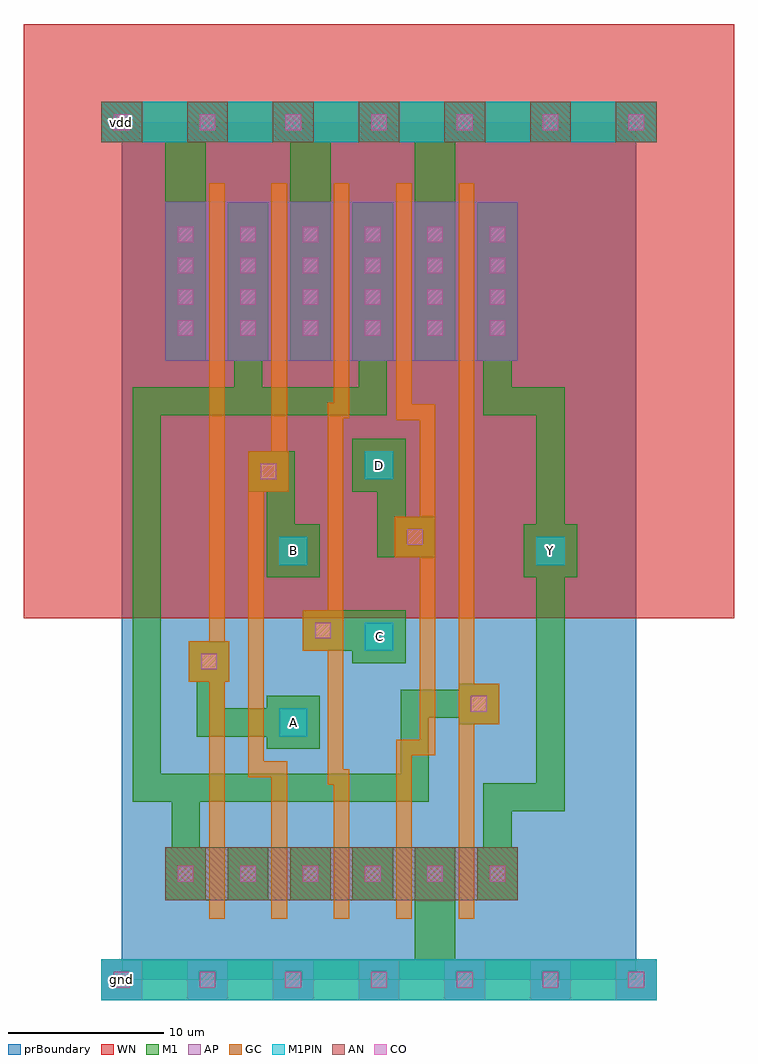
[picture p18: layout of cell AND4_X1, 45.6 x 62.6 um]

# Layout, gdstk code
import gdstk
lib = gdstk.Library(unit=1e-6, precision=1e-09)
def R(c, l, rs):  # rectangles x0, y0, x1, y1
    for r in rs: c.add(gdstk.rectangle(r[:2], r[2:], *l))
def A(c, l, x, y, w, h, nx, ny, dx, dy):  # array of equal rectangles
    R(c, l, [(x+i*dx, y+j*dy, x+i*dx+w, y+j*dy+h) for i in range(nx) for j in range(ny)])
def P(c, l, *ps):  # polygons
    for p in ps: c.add(gdstk.Polygon(p, *l))
AP = (3, 1)
AN = (3, 2)
GC = (8, 1)
CO = (11, 0)
M1 = (13, 0)
M1PIN = (48, 1)
WN = (140, 0)
prBoundary = (235, 0)

and4_x1 = lib.new_cell('AND4_X1')
A(and4_x1, AP, -1.3, -1.3, 2.6, 2.6, 7, 1, 5.5, 0)
R(and4_x1, AP, [(2.8,39.7,25.4,49.9), (2.8,39.7,25.4,49.9)])
A(and4_x1, AN, -1.3, 53.7, 2.6, 2.6, 7, 1, 5.5, 0)
R(and4_x1, AN, [(2.8,5.1,25.4,8.5)])
P(and4_x1, GC, [(5.6,3.9),(5.6,19.1),(4.3,19.1),(4.3,21.7),(5.6,21.7),(5.6,51.1),(6.6,51.1),(6.6,21.7),(6.9,21.7),(6.9,19.1),(6.6,19.1),(6.6,3.9)],
  [(9.6,3.9),(9.6,13),(8.1,13),(8.1,33.9),(9.6,33.9),(9.6,51.1),(10.6,51.1),(10.6,33.9),(10.7,33.9),(10.7,31.3),(9.1,31.3),(9.1,14),(10.6,14),(10.6,3.9)],
  [(13.6,3.9),(13.6,12.5),(13.2,12.5),(13.2,21.1),(11.6,21.1),(11.6,23.7),(13.2,23.7),(13.2,37),(13.6,37),(13.6,51.1),(14.6,51.1),(14.6,36),(14.2,36),(14.2,13.5),(14.6,13.5),(14.6,3.9)],
  [(17.6,3.9),(17.6,15.4),(19.1,15.4),(19.1,27.1),(17.5,27.1),(17.5,29.7),(19.1,29.7),(19.1,35.9),(17.6,35.9),(17.6,51.1),(18.6,51.1),(18.6,36.9),(20.1,36.9),(20.1,14.4),(18.6,14.4),(18.6,3.9)],
  [(21.6,3.9),(21.6,51.1),(22.6,51.1),(22.6,19),(24.2,19),(24.2,16.4),(22.6,16.4),(22.6,3.9)])
A(and4_x1, CO, -0.5, -0.5, 1, 1, 7, 2, 5.5, 55)
A(and4_x1, CO, 3.6, 41.3, 1, 1, 1, 4, 0, 2)
A(and4_x1, CO, 23.6, 41.3, 1, 1, 1, 4, 0, 2)
R(and4_x1, CO, [(3.6,6.3,4.6,7.3), (7.6,6.3,8.6,7.3), (7.6,6.3,8.6,7.3), (11.6,6.3,12.6,7.3), (11.6,6.3,12.6,7.3), (15.6,6.3,16.6,7.3), (15.6,6.3,16.6,7.3), (19.6,6.3,20.6,7.3), (19.6,6.3,20.6,7.3), (23.6,6.3,24.6,7.3), (22.4,17.2,23.4,18.2), (5.1,19.9,6.1,20.9), (12.4,21.9,13.4,22.9), (18.3,27.9,19.3,28.9), (8.9,32.1,9.9,33.1), (7.6,41.3,8.6,42.3), (7.6,41.3,8.6,42.3), (11.6,41.3,12.6,42.3), (11.6,41.3,12.6,42.3), (15.6,41.3,16.6,42.3), (15.6,41.3,16.6,42.3), (19.6,41.3,20.6,42.3), (19.6,41.3,20.6,42.3), (7.6,43.3,8.6,44.3), (7.6,43.3,8.6,44.3), (11.6,43.3,12.6,44.3), (11.6,43.3,12.6,44.3), (15.6,43.3,16.6,44.3), (15.6,43.3,16.6,44.3), (19.6,43.3,20.6,44.3), (19.6,43.3,20.6,44.3), (7.6,45.3,8.6,46.3), (7.6,45.3,8.6,46.3), (11.6,45.3,12.6,46.3), (11.6,45.3,12.6,46.3), (15.6,45.3,16.6,46.3), (15.6,45.3,16.6,46.3), (19.6,45.3,20.6,46.3), (19.6,45.3,20.6,46.3), (7.6,47.3,8.6,48.3), (7.6,47.3,8.6,48.3), (11.6,47.3,12.6,48.3), (11.6,47.3,12.6,48.3), (15.6,47.3,16.6,48.3), (15.6,47.3,16.6,48.3), (19.6,47.3,20.6,48.3), (19.6,47.3,20.6,48.3)])
A(and4_x1, M1, 6.8, 5.1, 2.6, 3.4, 3, 1, 4, 0)
P(and4_x1, M1, [(-1.3,-1.3),(-1.3,1.3),(18.8,1.3),(18.8,8.5),(21.4,8.5),(21.4,1.3),(34.3,1.3),(34.3,-1.3)],
  [(9.3,14.8),(9.3,15.6),(4.8,15.6),(4.8,19.1),(4.3,19.1),(4.3,21.7),(6.9,21.7),(6.9,19.1),(6.6,19.1),(6.6,17.4),(9.3,17.4),(9.3,18.2),(12.7,18.2),(12.7,14.8)],
  [(14.8,20.3),(14.8,21.1),(11.6,21.1),(11.6,23.7),(18.2,23.7),(18.2,20.3)],
  [(9.3,25.8),(9.3,31.3),(8.1,31.3),(8.1,33.9),(11.1,33.9),(11.1,29.2),(12.7,29.2),(12.7,25.8)],
  [(16.4,27.1),(16.4,31.3),(14.8,31.3),(14.8,34.7),(18.2,34.7),(18.2,29.7),(20.1,29.7),(20.1,27.1)],
  [(2.8,5.1),(2.8,8.5),(3.2,8.5),(3.2,11.4),(0.7,11.4),(0.7,38),(7.2,38),(7.2,39.7),(6.8,39.7),(6.8,49.9),(9.4,49.9),(9.4,39.7),(9,39.7),(9,38),(15.2,38),(15.2,39.7),(14.8,39.7),(14.8,49.9),(17.4,49.9),(17.4,39.7),(17,39.7),(17,36.2),(2.5,36.2),(2.5,13.2),(17.9,13.2),(17.9,18.6),(21.6,18.6),(21.6,19),(24.2,19),(24.2,16.4),(21.6,16.4),(21.6,16.8),(19.7,16.8),(19.7,11.4),(5,11.4),(5,8.5),(5.4,8.5),(5.4,5.1)],
  [(22.8,5.1),(22.8,8.5),(23.2,8.5),(23.2,12.6),(26.6,12.6),(26.6,25.8),(25.8,25.8),(25.8,29.2),(26.6,29.2),(26.6,36.2),(23.2,36.2),(23.2,39.7),(22.8,39.7),(22.8,49.9),(25.4,49.9),(25.4,39.7),(25,39.7),(25,38),(28.4,38),(28.4,29.2),(29.2,29.2),(29.2,25.8),(28.4,25.8),(28.4,10.8),(25,10.8),(25,8.5),(25.4,8.5),(25.4,5.1)],
  [(2.8,39.7),(2.8,53.7),(-1.3,53.7),(-1.3,56.3),(34.3,56.3),(34.3,53.7),(21.4,53.7),(21.4,39.7),(18.8,39.7),(18.8,53.7),(13.4,53.7),(13.4,39.7),(10.8,39.7),(10.8,53.7),(5.4,53.7),(5.4,39.7)])
R(and4_x1, M1PIN, [(-1.3,-1.3,34.3,1.3), (10.1,15.6,11.9,17.4), (15.6,21.1,17.4,22.9), (10.1,26.6,11.9,28.4), (26.6,26.6,28.4,28.4), (15.6,32.1,17.4,33.9), (-1.3,53.7,34.3,56.3)])
R(and4_x1, WN, [(-6.3,23.2,39.3,61.3)])
R(and4_x1, prBoundary, [(0,0,33,55)])
and4_x1.add(gdstk.Label('vdd', (0,55), layer=48, texttype=0))
and4_x1.add(gdstk.Label('gnd', (0,0), layer=48, texttype=0))
and4_x1.add(gdstk.Label('Y', (27.5,27.5), layer=48, texttype=0))
and4_x1.add(gdstk.Label('A', (11,16.5), layer=48, texttype=0))
and4_x1.add(gdstk.Label('B', (11,27.5), layer=48, texttype=0))
and4_x1.add(gdstk.Label('C', (16.5,22), layer=48, texttype=0))
and4_x1.add(gdstk.Label('D', (16.5,33), layer=48, texttype=0))

lib.write_gds('AND4_X1.gds')
